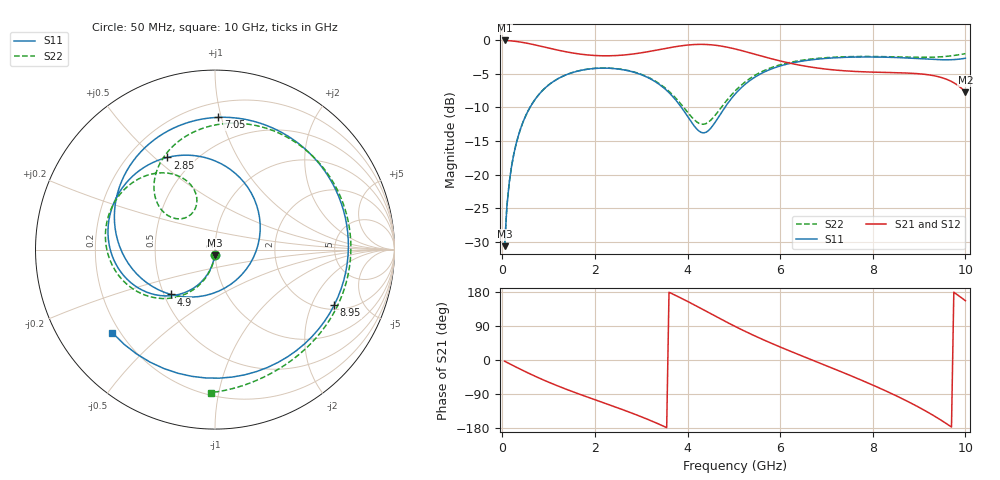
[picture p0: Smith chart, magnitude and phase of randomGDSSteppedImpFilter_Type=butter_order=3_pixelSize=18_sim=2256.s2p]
! freq	dB(S11)	phase(S11)	dB(S12)	phase(S12)
!  dB(S21)	phase(S21)	dB(S22)	phase(S22)
!S-par simulation data
#  GHz  S  DB  R 50
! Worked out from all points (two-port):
!   200 points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, 50 MHz to 10 GHz, reference 50 ohm
!   highest |S21| = -0.01 dB at 50 MHz (marker M1); lowest = -7.7 dB at 10 GHz (marker M2)
!   |S21| within 3 dB of the highest: start of sweep to 5.968 GHz
!   lowest |S11| = -30.7 dB at 50 MHz (marker M3), VSWR 1.06, Z = 49.7 - j2.9 ohm
!   |S11| at or under -10 dB: start of sweep to 597.5 MHz; 3.869 GHz to 4.806 GHz (936.6 MHz wide, 21.6 % of centre)
!   |S22| runs from -30.7 to -2.0 dB; largest |S21 - S12| = 0
!   S11 on the Smith chart (normalised r, x): 50 MHz: 0.99, -0.06; 2.85 GHz: 0.36, +0.55; 4.9 GHz: 0.54, -0.31; 7.05 GHz: 0.30, +0.98; 8.95 GHz: 2.22, -2.97; 10 GHz: 0.17, -0.34
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0.05  -30.69 -93.4  -0.01 -3.2  -0.01 -3.2  -30.69 -93.2
0.1  -24.70 -96.9  -0.02 -6.4  -0.02 -6.4  -24.70 -96.5
0.2  -18.78 -103.5  -0.08 -12.6  -0.08 -12.6  -18.78 -102.7
0.5  -11.33 -122.4  -0.37 -30.9  -0.37 -30.9  -11.32 -120.5
1.05  -6.39 -153.7  -1.22 -61.1  -1.22 -61.1  -6.38 -149.5
1.75  -4.40 171.6  -2.10 -93.9  -2.10 -93.9  -4.39 179.7
2.3  -4.15 145.5  -2.29 -117.8  -2.29 -117.8  -4.13 158.1
2.85  -4.76 117.3  -2.00 -142.6  -2.00 -142.6  -4.72 137.5
3.4  -6.61 82.5  -1.36 -170.2  -1.36 -170.2  -6.49 118.2
4.1  -12.34 6.6  -0.63 148.3  -0.63 148.3  -11.51 113.2
4.4  -13.70 -54.8  -0.61 128.8  -0.61 128.8  -12.40 131.4
4.9  -9.09 -134.7  -1.07 96.5  -1.07 96.5  -8.51 143.2
5.05  -7.83 -149.8  -1.31 87.2  -1.31 87.2  -7.38 140.0
5.8  -4.29 155.5  -2.71 44.7  -2.71 44.7  -4.09 111.5
6.7  -2.87 106.4  -4.02 -0.5  -4.02 -0.5  -2.75 71.5
7.05  -2.65 88.6  -4.33 -17.7  -4.33 -17.7  -2.55 55.5
7.7  -2.48 54.7  -4.66 -50.4  -4.66 -50.4  -2.40 24.8
8.35  -2.52 17.1  -4.79 -85.5  -4.79 -85.5  -2.43 -6.9
8.95  -2.70 -25.0  -4.95 -121.7  -4.95 -121.7  -2.52 -36.6
9.55  -2.89 -82.3  -5.69 -164.7  -5.69 -164.7  -2.41 -66.7
9.8  -2.84 -113.3  -6.53 174.5  -6.53 174.5  -2.20 -80.1
10  -2.66 -141.1  -7.71 156.5  -7.71 156.5  -1.97 -91.7
